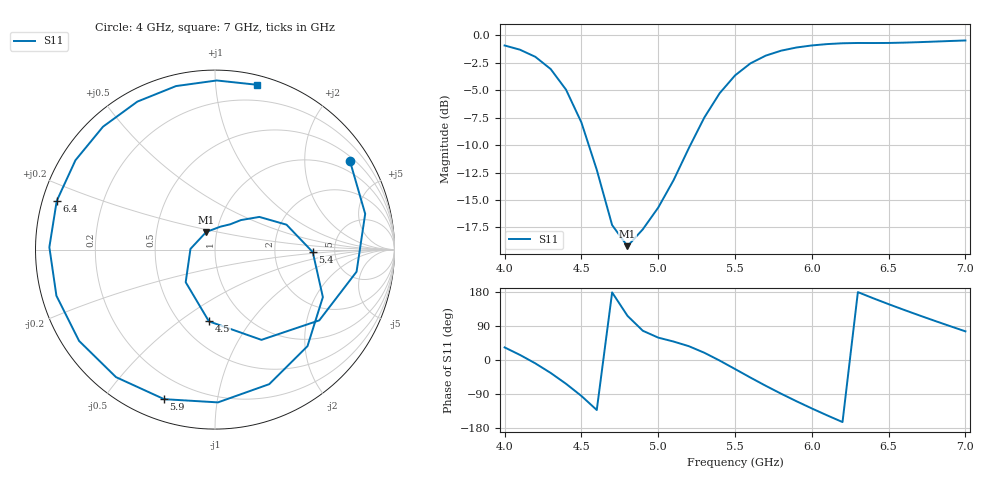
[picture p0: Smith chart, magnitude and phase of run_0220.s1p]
! Touchstone file exported from HFSS 2024.2.0
!  File:  C:/Users/wsak9/Desktop/Sim Fast/Widenad Patch/WP_AI_V1_sweep.aedt
!  Generated:  12:11:09 AM Oct 14, 2026
!  Design:  A1_model
!  Project:  WP_AI_V1_sweep
!  Setup:  Setup1
!  Solution:  Sweep
! Variables:
!  Air_gap = 3.4mm
!  Curve_Amp1 = 0.77
!  Curve_len1 = 1
!  Curve_pos = 12.205mm
!  Extra = 6.53mm
!  H_sub = 0.79mm
!  L_Patch = 20.41mm
!  L_Patch1 = 17.32mm
!  Sx = 3.43mm
!  Sy = 1.27mm
!  WS = 1.2mm
!  W_Patch = 14.05mm
!  W_Patch1 = 10.79mm
!Data is not renormalized
# GHz S MA
! Terminal data exported
! Port[1] = 1
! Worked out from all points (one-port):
!   31 points, 4 GHz to 7 GHz, reference per port
!   lowest |S11| = -19.2 dB at 4.8 GHz (marker M1), VSWR 1.25
!   |S11| at or under -10 dB: 4.548 GHz to 5.209 GHz (661.3 MHz wide, 13.6 % of centre)
!   S11 on the Smith chart (normalised r, x): 4 GHz: 0.63, +3.24; 4.5 GHz: 0.68, -0.65; 5.4 GHz: 3.39, -0.14; 5.9 GHz: 0.10, -0.71; 6.4 GHz: 0.04, +0.15; 7 GHz: 0.07, +1.29
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4  0.8991 33.2
4.1  0.8602 13.4
4.2  0.7983 -8.9
4.3  0.7021 -34.2
4.4  0.5655 -62.8
4.5  0.4012 -94.9
4.6  0.2442 -132.0
4.7  0.1367 178.3
4.8  0.1096 116.5
5  0.1642 59.1
5.2  0.307 36.4
5.3  0.422 19.2
5.4  0.545 -1.5
5.5  0.6567 -23.8
5.6  0.745 -46.2
5.7  0.8083 -68.0
5.8  0.8514 -88.9
5.9  0.8802 -108.8
6  0.8995 -127.8
6.1  0.9124 -146.1
6.2  0.9202 -163.8
6.3  0.923 179.2
6.4  0.9226 162.9
6.5  0.9232 147.4
6.7  0.9311 117.7
6.8  0.9366 103.4
6.9  0.9423 89.4
7  0.9477 75.7
